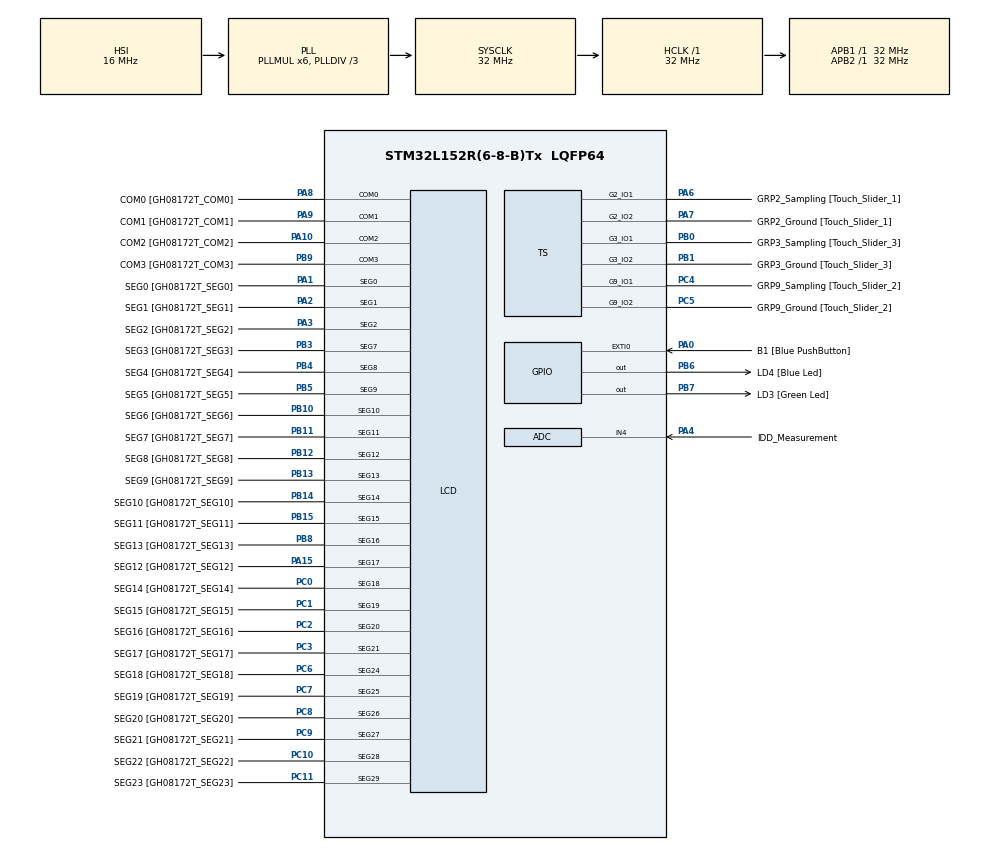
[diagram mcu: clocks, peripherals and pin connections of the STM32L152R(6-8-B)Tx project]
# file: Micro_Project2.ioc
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ADC.Channel=ADC_CHANNEL_4
ADC.Channel-0\#ChannelRegularConversion=ADC_CHANNEL_4
ADC.Channel-IN4=ADC_CHANNEL_4
ADC.ExternalTrigConv=ADC_EXTERNALTRIGCONV_T2_CC3
ADC.ExternalTrigConv-0\#ChannelRegularConversion=ADC_SOFTWARE_START
ADC.ExternalTrigConvEdge=ADC_EXTERNALTRIGCONVEDGE_RISING
ADC.Rank-0\#ChannelRegularConversion=1
ADC.SamplingTime-0\#ChannelRegularConversion=ADC_SAMPLETIME_4CYCLES
Mcu.Family=STM32L1
Mcu.Name=STM32L152R(6-8-B)Tx
Mcu.Package=LQFP64
NVIC.PriorityGroup=NVIC_PRIORITYGROUP_0
PA0-WKUP1.GPIO_Label=B1 [Blue PushButton]
PA0-WKUP1.GPIO_ModeDefaultEXTI=GPIO_MODE_EVT_RISING
PA0-WKUP1.GPIO_PuPd=GPIO_NOPULL
PA0-WKUP1.Signal=GPXTI0
PA1.GPIO_Label=SEG0 [GH08172T_SEG0]
PA1.GPIO_Mode=GPIO_MODE_AF_PP
PA1.GPIO_PuPd=GPIO_NOPULL
PA1.GPIO_Speed=GPIO_SPEED_FREQ_LOW
PA1.Mode=SEG0
PA1.Signal=LCD_SEG0
PA10.GPIO_Label=COM2 [GH08172T_COM2]
PA10.GPIO_Mode=GPIO_MODE_AF_PP
PA10.GPIO_PuPd=GPIO_NOPULL
PA10.GPIO_Speed=GPIO_SPEED_FREQ_LOW
PA10.Mode=1/4 Duty Cycle
PA10.Signal=LCD_COM2
PA13.GPIO_Label=SWDIO
PA13.Mode=Serial_Wire
PA13.Signal=SYS_JTMS-SWDIO
PA14.GPIO_Label=SWCLK
PA14.Mode=Serial_Wire
PA14.Signal=SYS_JTCK-SWCLK
PA15.GPIO_Label=SEG12 [GH08172T_SEG12]
PA15.GPIO_Mode=GPIO_MODE_AF_PP
PA15.GPIO_PuPd=GPIO_NOPULL
PA15.GPIO_Speed=GPIO_SPEED_FREQ_LOW
PA15.Mode=SEG17
PA15.Signal=LCD_SEG17
PA2.GPIO_Label=SEG1 [GH08172T_SEG1]
PA2.GPIO_Mode=GPIO_MODE_AF_PP
PA2.GPIO_PuPd=GPIO_NOPULL
PA2.GPIO_Speed=GPIO_SPEED_FREQ_LOW
PA2.Mode=SEG1
PA2.Signal=LCD_SEG1
PA3.GPIO_Label=SEG2 [GH08172T_SEG2]
PA3.GPIO_Mode=GPIO_MODE_AF_PP
PA3.GPIO_PuPd=GPIO_NOPULL
PA3.GPIO_Speed=GPIO_SPEED_FREQ_LOW
PA3.Mode=SEG2
PA3.Signal=LCD_SEG2
PA4.GPIO_Label=IDD_Measurement
PA4.GPIO_Mode=GPIO_MODE_ANALOG
PA4.GPIO_PuPd=GPIO_NOPULL
PA4.Mode=IN4
PA4.Signal=ADC_IN4
PA6.GPIO_Label=GRP2_Sampling [Touch_Slider_1]
PA6.Mode=G2_IO1-Sampling
PA6.Signal=TS_G2_IO1
PA7.GPIO_Label=GRP2_Ground [Touch_Slider_1]
PA7.Mode=G2_IO2-Channel
PA7.Signal=TS_G2_IO2
PA8.GPIO_Label=COM0 [GH08172T_COM0]
PA8.GPIO_Mode=GPIO_MODE_AF_PP
PA8.GPIO_PuPd=GPIO_NOPULL
PA8.GPIO_Speed=GPIO_SPEED_FREQ_LOW
PA8.Mode=1/4 Duty Cycle
PA8.Signal=LCD_COM0
PA9.GPIO_Label=COM1 [GH08172T_COM1]
PA9.GPIO_Mode=GPIO_MODE_AF_PP
PA9.GPIO_PuPd=GPIO_NOPULL
PA9.GPIO_Speed=GPIO_SPEED_FREQ_LOW
PA9.Mode=1/4 Duty Cycle
PA9.Signal=LCD_COM1
PB0.GPIO_Label=GRP3_Sampling [Touch_Slider_3]
PB0.Mode=G3_IO1-Sampling
PB0.Signal=TS_G3_IO1
PB1.GPIO_Label=GRP3_Ground [Touch_Slider_3]
PB1.Mode=G3_IO2-Channel
PB1.Signal=TS_G3_IO2
PB10.GPIO_Label=SEG6 [GH08172T_SEG6]
PB10.GPIO_Mode=GPIO_MODE_AF_PP
PB10.GPIO_PuPd=GPIO_NOPULL
PB10.GPIO_Speed=GPIO_SPEED_FREQ_LOW
PB10.Mode=SEG10
PB10.Signal=LCD_SEG10
PB11.GPIO_Label=SEG7 [GH08172T_SEG7]
PB11.GPIO_Mode=GPIO_MODE_AF_PP
PB11.GPIO_PuPd=GPIO_NOPULL
PB11.GPIO_Speed=GPIO_SPEED_FREQ_LOW
PB11.Mode=SEG11
PB11.Signal=LCD_SEG11
PB12.GPIO_Label=SEG8 [GH08172T_SEG8]
PB12.GPIO_Mode=GPIO_MODE_AF_PP
PB12.GPIO_PuPd=GPIO_NOPULL
PB12.GPIO_Speed=GPIO_SPEED_FREQ_LOW
PB12.Mode=SEG12
PB12.Signal=LCD_SEG12
PB13.GPIO_Label=SEG9 [GH08172T_SEG9]
PB13.GPIO_Mode=GPIO_MODE_AF_PP
PB13.GPIO_PuPd=GPIO_NOPULL
PB13.GPIO_Speed=GPIO_SPEED_FREQ_LOW
PB13.Mode=SEG13
PB13.Signal=LCD_SEG13
PB14.GPIO_Label=SEG10 [GH08172T_SEG10]
PB14.GPIO_Mode=GPIO_MODE_AF_PP
PB14.GPIO_PuPd=GPIO_NOPULL
PB14.GPIO_Speed=GPIO_SPEED_FREQ_LOW
PB14.Mode=SEG14
PB14.Signal=LCD_SEG14
PB15.GPIO_Label=SEG11 [GH08172T_SEG11]
PB15.GPIO_Mode=GPIO_MODE_AF_PP
PB15.GPIO_PuPd=GPIO_NOPULL
PB15.GPIO_Speed=GPIO_SPEED_FREQ_LOW
PB15.Mode=SEG15
PB15.Signal=LCD_SEG15
PB3.GPIO_Label=SEG3 [GH08172T_SEG3]
PB3.GPIO_Mode=GPIO_MODE_AF_PP
PB3.GPIO_PuPd=GPIO_NOPULL
PB3.GPIO_Speed=GPIO_SPEED_FREQ_LOW
PB3.Mode=SEG7
PB3.Signal=LCD_SEG7
PB4.GPIO_Label=SEG4 [GH08172T_SEG4]
PB4.GPIO_Mode=GPIO_MODE_AF_PP
PB4.GPIO_PuPd=GPIO_NOPULL
PB4.GPIO_Speed=GPIO_SPEED_FREQ_LOW
PB4.Mode=SEG8
PB4.Signal=LCD_SEG8
PB5.GPIO_Label=SEG5 [GH08172T_SEG5]
PB5.GPIO_Mode=GPIO_MODE_AF_PP
PB5.GPIO_PuPd=GPIO_NOPULL
PB5.GPIO_Speed=GPIO_SPEED_FREQ_LOW
PB5.Mode=SEG9
PB5.Signal=LCD_SEG9
PB6.GPIO_Label=LD4 [Blue Led]
PB6.GPIO_ModeDefaultOutputPP=GPIO_MODE_OUTPUT_PP
PB6.GPIO_PuPd=GPIO_NOPULL
PB6.GPIO_Speed=GPIO_SPEED_FREQ_LOW
PB6.Signal=GPIO_Output
PB7.GPIO_Label=LD3 [Green Led]
PB7.GPIO_ModeDefaultOutputPP=GPIO_MODE_OUTPUT_PP
PB7.GPIO_PuPd=GPIO_NOPULL
PB7.GPIO_Speed=GPIO_SPEED_FREQ_LOW
PB7.Signal=GPIO_Output
PB8.GPIO_Label=SEG13 [GH08172T_SEG13]
PB8.GPIO_Mode=GPIO_MODE_AF_PP
PB8.GPIO_PuPd=GPIO_NOPULL
PB8.GPIO_Speed=GPIO_SPEED_FREQ_LOW
PB8.Mode=SEG16
PB8.Signal=LCD_SEG16
PB9.GPIO_Label=COM3 [GH08172T_COM3]
PB9.GPIO_Mode=GPIO_MODE_AF_PP
PB9.GPIO_PuPd=GPIO_NOPULL
PB9.GPIO_Speed=GPIO_SPEED_FREQ_LOW
PB9.Mode=1/4 Duty Cycle
PB9.Signal=LCD_COM3
PC0.GPIO_Label=SEG14 [GH08172T_SEG14]
PC0.GPIO_Mode=GPIO_MODE_AF_PP
PC0.GPIO_PuPd=GPIO_NOPULL
PC0.GPIO_Speed=GPIO_SPEED_FREQ_LOW
PC0.Mode=SEG18
PC0.Signal=LCD_SEG18
PC1.GPIO_Label=SEG15 [GH08172T_SEG15]
PC1.GPIO_Mode=GPIO_MODE_AF_PP
PC1.GPIO_PuPd=GPIO_NOPULL
PC1.GPIO_Speed=GPIO_SPEED_FREQ_LOW
PC1.Mode=SEG19
PC1.Signal=LCD_SEG19
PC10.GPIO_Label=SEG22 [GH08172T_SEG22]
PC10.GPIO_Mode=GPIO_MODE_AF_PP
PC10.GPIO_PuPd=GPIO_NOPULL
PC10.GPIO_Speed=GPIO_SPEED_FREQ_LOW
PC10.Mode=SEG28
PC10.Signal=LCD_SEG28
PC11.GPIO_Label=SEG23 [GH08172T_SEG23]
PC11.GPIO_Mode=GPIO_MODE_AF_PP
PC11.GPIO_PuPd=GPIO_NOPULL
PC11.GPIO_Speed=GPIO_SPEED_FREQ_LOW
PC11.Mode=SEG29
PC11.Signal=LCD_SEG29
PC14-OSC32_IN.GPIO_Label=PC14-OSC32_IN
PC14-OSC32_IN.Mode=LSE-External-Oscillator
PC14-OSC32_IN.Signal=RCC_OSC32_IN
PC15-OSC32_OUT.GPIO_Label=PC15-OSC32_OUT
PC15-OSC32_OUT.Mode=LSE-External-Oscillator
PC15-OSC32_OUT.Signal=RCC_OSC32_OUT
PC2.GPIO_Label=SEG16 [GH08172T_SEG16]
PC2.GPIO_Mode=GPIO_MODE_AF_PP
PC2.GPIO_PuPd=GPIO_NOPULL
PC2.GPIO_Speed=GPIO_SPEED_FREQ_LOW
PC2.Mode=SEG20
PC2.Signal=LCD_SEG20
PC3.GPIO_Label=SEG17 [GH08172T_SEG17]
PC3.GPIO_Mode=GPIO_MODE_AF_PP
PC3.GPIO_PuPd=GPIO_NOPULL
PC3.GPIO_Speed=GPIO_SPEED_FREQ_LOW
PC3.Mode=SEG21
PC3.Signal=LCD_SEG21
PC4.GPIO_Label=GRP9_Sampling [Touch_Slider_2]
PC4.Mode=G9_IO1-Sampling
PC4.Signal=TS_G9_IO1
PC5.GPIO_Label=GRP9_Ground [Touch_Slider_2]
PC5.Mode=G9_IO2-Channel
PC5.Signal=TS_G9_IO2
PC6.GPIO_Label=SEG18 [GH08172T_SEG18]
PC6.GPIO_Mode=GPIO_MODE_AF_PP
PC6.GPIO_PuPd=GPIO_NOPULL
PC6.GPIO_Speed=GPIO_SPEED_FREQ_LOW
PC6.Mode=SEG24
PC6.Signal=LCD_SEG24
PC7.GPIO_Label=SEG19 [GH08172T_SEG19]
PC7.GPIO_Mode=GPIO_MODE_AF_PP
PC7.GPIO_PuPd=GPIO_NOPULL
PC7.GPIO_Speed=GPIO_SPEED_FREQ_LOW
PC7.Mode=SEG25
PC7.Signal=LCD_SEG25
PC8.GPIO_Label=SEG20 [GH08172T_SEG20]
PC8.GPIO_Mode=GPIO_MODE_AF_PP
PC8.GPIO_PuPd=GPIO_NOPULL
PC8.GPIO_Speed=GPIO_SPEED_FREQ_LOW
PC8.Mode=SEG26
PC8.Signal=LCD_SEG26
PC9.GPIO_Label=SEG21 [GH08172T_SEG21]
PC9.GPIO_Mode=GPIO_MODE_AF_PP
PC9.GPIO_PuPd=GPIO_NOPULL
PC9.GPIO_Speed=GPIO_SPEED_FREQ_LOW
PC9.Mode=SEG27
PC9.Signal=LCD_SEG27
ProjectManager.HeapSize=0x200
ProjectManager.StackSize=0x400
ProjectManager.TargetToolchain=STM32CubeIDE
RCC.48MHZClocksFreq_Value=48000000
RCC.AHBFreq_Value=32000000
RCC.APB1Freq_Value=32000000
RCC.APB1TimFreq_Value=32000000
RCC.APB2Freq_Value=32000000
RCC.APB2TimFreq_Value=32000000
RCC.HCLKFreq_Value=32000000
RCC.HSE_VALUE=8000000
RCC.HSI_VALUE=16000000
RCC.MSI_VALUE=2097000
RCC.PLLDIV=RCC_PLL_DIV3
RCC.PLLMUL=RCC_PLL_MUL6
RCC.RTCClockSelectionVirtual=RCC_RTCCLKSOURCE_LSE
RCC.SYSCLKFreq_VALUE=32000000
RCC.SYSCLKSource=RCC_SYSCLKSOURCE_PLLCLK
RCC.USBOutput=48000000
RCC.VCOOutputFreq_Value=96000000
board=STM32L-DISCOVERY

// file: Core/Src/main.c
/* USER CODE BEGIN Header */
/**
  ******************************************************************************
  * @file           : main.c
  * @brief          : Main program body
  ******************************************************************************
  * @attention
  *
  * Copyright (c) 2024 STMicroelectronics.
  * All rights reserved.
  *
  * This software is licensed under terms that can be found in the LICENSE file
  * in the root directory of this software component.
  * If no LICENSE file comes with this software, it is provided AS-IS.
  *
  ******************************************************************************
  */
/* USER CODE END Header */
#include "main.h"

/* USER CODE BEGIN Includes */
#include "stm32l1xx_hal.h"
/* USER CODE END Includes */

/* USER CODE BEGIN PD */
// Define GPIO pins connected to the motor driver
#define MOTOR_A_IN1_PIN GPIO_PIN_6 // PC6
#define MOTOR_A_IN2_PIN GPIO_PIN_7 // PC7
#define MOTOR_B_IN3_PIN GPIO_PIN_8 // PC8
#define MOTOR_B_IN4_PIN GPIO_PIN_9 // PC9
/* USER CODE END PD */

ADC_HandleTypeDef hadc;

LCD_HandleTypeDef hlcd;

void SystemClock_Config(void);
static void MX_GPIO_Init(void);
static void MX_ADC_Init(void);
static void MX_LCD_Init(void);
static void MX_TS_Init(void);
/* USER CODE BEGIN PFP */
void stopWheels(void);
void moveForward(void);
void turnRight(void);
void turnLeft(void);
void moveBackward(void);
void espera(int tiempo);
/* USER CODE END PFP */

/* USER CODE BEGIN 0 */

void stopWheels(void) {
    // Stop both motors
    GPIOC->BSRR = (GPIO_PIN_6 | GPIO_PIN_7 | GPIO_PIN_8 | GPIO_PIN_9) << 16;
    //GPIOC->BSRR = (1<<6)<<16;
}

void moveForward(void) {
    // Move both motors forward
    GPIOC->BSRR = GPIO_PIN_6 | GPIO_PIN_8;
    GPIOC->BSRR = (GPIO_PIN_7 | GPIO_PIN_9) << 16;
}

void turnRight(void) {
    // Turn right by moving right motor forward and left motor backward
    GPIOC->BSRR = GPIO_PIN_6 | GPIO_PIN_9;
    GPIOC->BSRR = (GPIO_PIN_7 | GPIO_PIN_8) << 16;
}

void turnLeft(void) {
    // Turn left by moving left motor forward and right motor backward
    GPIOC->BSRR = GPIO_PIN_7 | GPIO_PIN_8;
    GPIOC->BSRR = (GPIO_PIN_6 | GPIO_PIN_9) << 16;
}

void moveBackward(void) {
    // Move both motors backward
    GPIOC->BSRR = GPIO_PIN_7 | GPIO_PIN_9;
    GPIOC->BSRR = (GPIO_PIN_6 | GPIO_PIN_8) << 16;
}

void espera(int tiempo) {
    for (int i = 0; i < tiempo * 1000; i++) {
    }
}
/* USER CODE END 0 */

int main(void)
{

  /* MCU Configuration--------------------------------------------------------*/

  /* Reset of all peripherals, Initializes the Flash interface and the Systick. */
  HAL_Init();

  /* Configure the system clock */
  SystemClock_Config();

  /* Initialize all configured peripherals */
  MX_GPIO_Init();
  MX_ADC_Init();
  MX_LCD_Init();
  MX_TS_Init();
  /* USER CODE BEGIN 2 */
  // PC6, PC7, PC8, and PC9 as digital outputs (01)
  GPIOC->MODER &= ~(1 << (6*2+1));
  GPIOC->MODER |= (1 << (6*2));

  GPIOC->MODER &= ~(1 << (7*2+1));
  GPIOC->MODER |= (1 << (7*2));

  GPIOC->MODER &= ~(1 << (8*2+1));
  GPIOC->MODER |= (1 << (8*2));

  GPIOC->MODER &= ~(1 << (9*2+1));
  GPIOC->MODER |= (1 << (9*2));
  /* USER CODE END 2 */

  /* Infinite loop */
  while (1)
   {
	  // Stop both wheels for 1 second
	      stopWheels();
	      espera(1000);

	      // Move both wheels forward for 2 seconds
	      moveForward();
	      espera(2000);

	      // Stop both wheels for 1 second
	      stopWheels();
	      espera(1000);

	      // Turn right for 2 seconds
	      turnRight();
	      espera(2000);

	      // Stop both wheels for 1 second
	      stopWheels();
	      espera(1000);

	      // Turn left for 2 seconds
	      turnLeft();
	      espera(2000);

	      // Stop both wheels for 1 second
	      stopWheels();
	      espera(1000);

	      // Move both wheels backward for 2 seconds
	      moveBackward();
	      espera(2000);
   }
}

void SystemClock_Config(void)
{
  RCC_OscInitTypeDef RCC_OscInitStruct = {0};
  RCC_ClkInitTypeDef RCC_ClkInitStruct = {0};
  RCC_PeriphCLKInitTypeDef PeriphClkInit = {0};

  /** Configure the main internal regulator output voltage
  */
  __HAL_PWR_VOLTAGESCALING_CONFIG(PWR_REGULATOR_VOLTAGE_SCALE1);

  /** Initializes the RCC Oscillators according to the specified parameters
  * in the RCC_OscInitTypeDef structure.
  */
  RCC_OscInitStruct.OscillatorType = RCC_OSCILLATORTYPE_HSI|RCC_OSCILLATORTYPE_LSE;
  RCC_OscInitStruct.LSEState = RCC_LSE_ON;
  RCC_OscInitStruct.HSIState = RCC_HSI_ON;
  RCC_OscInitStruct.HSICalibrationValue = RCC_HSICALIBRATION_DEFAULT;
  RCC_OscInitStruct.PLL.PLLState = RCC_PLL_ON;
  RCC_OscInitStruct.PLL.PLLSource = RCC_PLLSOURCE_HSI;
  RCC_OscInitStruct.PLL.PLLMUL = RCC_PLL_MUL6;
  RCC_OscInitStruct.PLL.PLLDIV = RCC_PLL_DIV3;
  if (HAL_RCC_OscConfig(&RCC_OscInitStruct) != HAL_OK)
  {
    Error_Handler();
  }

  /** Initializes the CPU, AHB and APB buses clocks
  */
  RCC_ClkInitStruct.ClockType = RCC_CLOCKTYPE_HCLK|RCC_CLOCKTYPE_SYSCLK
                              |RCC_CLOCKTYPE_PCLK1|RCC_CLOCKTYPE_PCLK2;
  RCC_ClkInitStruct.SYSCLKSource = RCC_SYSCLKSOURCE_PLLCLK;
  RCC_ClkInitStruct.AHBCLKDivider = RCC_SYSCLK_DIV1;
  RCC_ClkInitStruct.APB1CLKDivider = RCC_HCLK_DIV1;
  RCC_ClkInitStruct.APB2CLKDivider = RCC_HCLK_DIV1;

  if (HAL_RCC_ClockConfig(&RCC_ClkInitStruct, FLASH_LATENCY_1) != HAL_OK)
  {
    Error_Handler();
  }
  PeriphClkInit.PeriphClockSelection = RCC_PERIPHCLK_RTC|RCC_PERIPHCLK_LCD;
  PeriphClkInit.RTCClockSelection = RCC_RTCCLKSOURCE_LSE;
  PeriphClkInit.LCDClockSelection = RCC_RTCCLKSOURCE_LSE;

  if (HAL_RCCEx_PeriphCLKConfig(&PeriphClkInit) != HAL_OK)
  {
    Error_Handler();
  }
}

static void MX_ADC_Init(void)
{

  ADC_ChannelConfTypeDef sConfig = {0};

  /** Configure the global features of the ADC (Clock, Resolution, Data Alignment and number of conversion)
  */
  hadc.Instance = ADC1;
  hadc.Init.ClockPrescaler = ADC_CLOCK_ASYNC_DIV1;
  hadc.Init.Resolution = ADC_RESOLUTION_12B;
  hadc.Init.DataAlign = ADC_DATAALIGN_RIGHT;
  hadc.Init.ScanConvMode = ADC_SCAN_DISABLE;
  hadc.Init.EOCSelection = ADC_EOC_SEQ_CONV;
  hadc.Init.LowPowerAutoWait = ADC_AUTOWAIT_DISABLE;
  hadc.Init.LowPowerAutoPowerOff = ADC_AUTOPOWEROFF_DISABLE;
  hadc.Init.ChannelsBank = ADC_CHANNELS_BANK_A;
  hadc.Init.ContinuousConvMode = DISABLE;
  hadc.Init.NbrOfConversion = 1;
  hadc.Init.DiscontinuousConvMode = DISABLE;
  hadc.Init.ExternalTrigConv = ADC_EXTERNALTRIGCONV_T2_CC3;
  hadc.Init.ExternalTrigConvEdge = ADC_EXTERNALTRIGCONVEDGE_RISING;
  hadc.Init.DMAContinuousRequests = DISABLE;
  if (HAL_ADC_Init(&hadc) != HAL_OK)
  {
    Error_Handler();
  }

  /** Configure for the selected ADC regular channel its corresponding rank in the sequencer and its sample time.
  */
  sConfig.Channel = ADC_CHANNEL_4;
  sConfig.Rank = ADC_REGULAR_RANK_1;
  sConfig.SamplingTime = ADC_SAMPLETIME_4CYCLES;
  if (HAL_ADC_ConfigChannel(&hadc, &sConfig) != HAL_OK)
  {
    Error_Handler();
  }

}

static void MX_LCD_Init(void)
{

  hlcd.Instance = LCD;
  hlcd.Init.Prescaler = LCD_PRESCALER_1;
  hlcd.Init.Divider = LCD_DIVIDER_16;
  hlcd.Init.Duty = LCD_DUTY_1_4;
  hlcd.Init.Bias = LCD_BIAS_1_4;
  hlcd.Init.VoltageSource = LCD_VOLTAGESOURCE_INTERNAL;
  hlcd.Init.Contrast = LCD_CONTRASTLEVEL_0;
  hlcd.Init.DeadTime = LCD_DEADTIME_0;
  hlcd.Init.PulseOnDuration = LCD_PULSEONDURATION_0;
  hlcd.Init.MuxSegment = LCD_MUXSEGMENT_DISABLE;
  hlcd.Init.BlinkMode = LCD_BLINKMODE_OFF;
  hlcd.Init.BlinkFrequency = LCD_BLINKFREQUENCY_DIV8;
  if (HAL_LCD_Init(&hlcd) != HAL_OK)
  {
    Error_Handler();
  }

}

static void MX_TS_Init(void)
{

}

static void MX_GPIO_Init(void)
{
  GPIO_InitTypeDef GPIO_InitStruct = {0};

  /* GPIO Ports Clock Enable */
  __HAL_RCC_GPIOC_CLK_ENABLE();
  __HAL_RCC_GPIOA_CLK_ENABLE();
  __HAL_RCC_GPIOB_CLK_ENABLE();

  /*Configure GPIO pin Output Level */
  HAL_GPIO_WritePin(GPIOB, LD4_Pin|LD3_Pin, GPIO_PIN_RESET);

  /*Configure GPIO pin : B1_Pin */
  GPIO_InitStruct.Pin = B1_Pin;
  GPIO_InitStruct.Mode = GPIO_MODE_EVT_RISING;
  GPIO_InitStruct.Pull = GPIO_NOPULL;
  HAL_GPIO_Init(B1_GPIO_Port, &GPIO_InitStruct);

  /*Configure GPIO pins : LD4_Pin LD3_Pin */
  GPIO_InitStruct.Pin = LD4_Pin|LD3_Pin;
  GPIO_InitStruct.Mode = GPIO_MODE_OUTPUT_PP;
  GPIO_InitStruct.Pull = GPIO_NOPULL;
  GPIO_InitStruct.Speed = GPIO_SPEED_FREQ_LOW;
  HAL_GPIO_Init(GPIOB, &GPIO_InitStruct);

}

void Error_Handler(void)
{
  __disable_irq();
  while (1)
  {
  }
}
